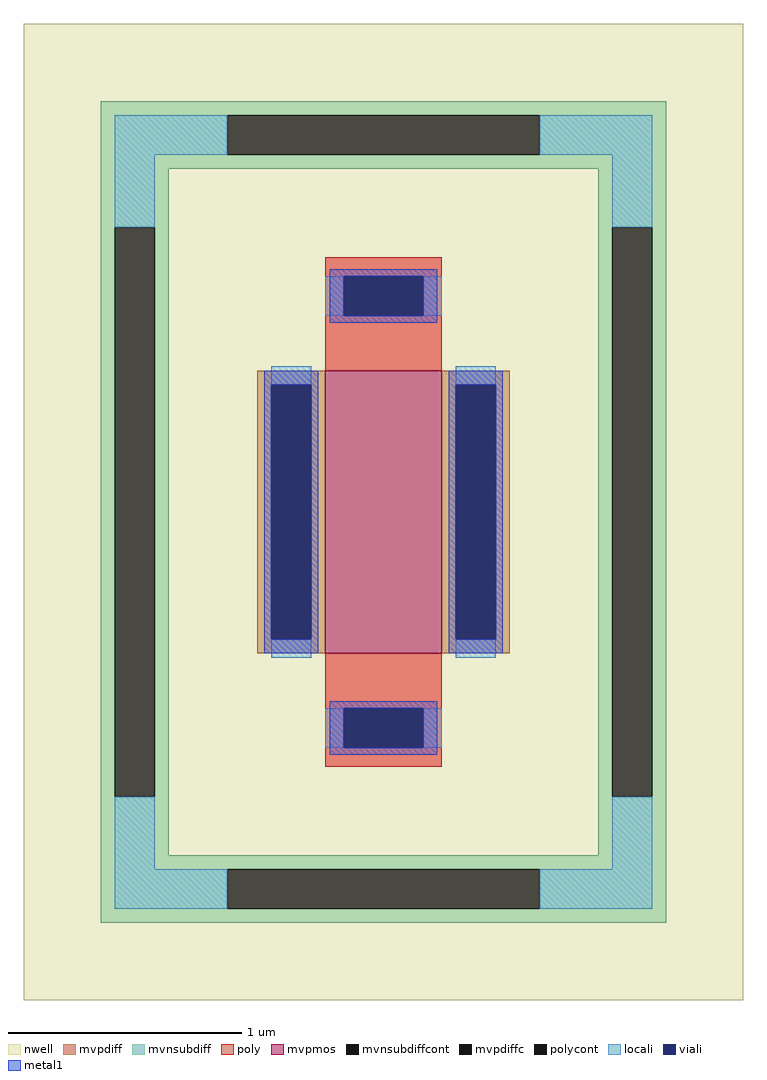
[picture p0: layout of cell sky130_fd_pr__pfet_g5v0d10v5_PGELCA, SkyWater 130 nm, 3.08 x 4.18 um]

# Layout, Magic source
magic
tech sky130A
magscale 1 2
<< nwell >>
rect -308 -418 308 418
<< mvpmos >>
rect -50 -121 50 121
<< mvpdiff >>
rect -108 109 -50 121
rect -108 -109 -96 109
rect -62 -109 -50 109
rect -108 -121 -50 -109
rect 50 109 108 121
rect 50 -109 62 109
rect 96 -109 108 109
rect 50 -121 108 -109
<< mvpdiffc >>
rect -96 -109 -62 109
rect 62 -109 96 109
<< mvnsubdiff >>
rect -242 340 242 352
rect -242 306 -134 340
rect 134 306 242 340
rect -242 294 242 306
rect -242 244 -184 294
rect -242 -244 -230 244
rect -196 -244 -184 244
rect 184 244 242 294
rect -242 -294 -184 -244
rect 184 -244 196 244
rect 230 -244 242 244
rect 184 -294 242 -244
rect -242 -306 242 -294
rect -242 -340 -134 -306
rect 134 -340 242 -306
rect -242 -352 242 -340
<< mvnsubdiffcont >>
rect -134 306 134 340
rect -230 -244 -196 244
rect 196 -244 230 244
rect -134 -340 134 -306
<< poly >>
rect -50 202 50 218
rect -50 168 -34 202
rect 34 168 50 202
rect -50 121 50 168
rect -50 -168 50 -121
rect -50 -202 -34 -168
rect 34 -202 50 -168
rect -50 -218 50 -202
<< polycont >>
rect -34 168 34 202
rect -34 -202 34 -168
<< locali >>
rect -230 306 -134 340
rect 134 306 230 340
rect -230 244 -196 306
rect 196 244 230 306
rect -50 168 -34 202
rect 34 168 50 202
rect -96 109 -62 125
rect -96 -125 -62 -109
rect 62 109 96 125
rect 62 -125 96 -109
rect -50 -202 -34 -168
rect 34 -202 50 -168
rect -230 -306 -196 -244
rect 196 -306 230 -244
rect -230 -340 -134 -306
rect 134 -340 230 -306
<< viali >>
rect -34 168 34 202
rect -96 -109 -62 109
rect 62 -109 96 109
rect -34 -202 34 -168
<< metal1 >>
rect -46 202 46 208
rect -46 168 -34 202
rect 34 168 46 202
rect -46 162 46 168
rect -102 109 -56 121
rect -102 -109 -96 109
rect -62 -109 -56 109
rect -102 -121 -56 -109
rect 56 109 102 121
rect 56 -109 62 109
rect 96 -109 102 109
rect 56 -121 102 -109
rect -46 -168 46 -162
rect -46 -202 -34 -168
rect 34 -202 46 -168
rect -46 -208 46 -202
<< properties >>
string FIXED_BBOX -213 -323 213 323
string gencell sky130_fd_pr__pfet_g5v0d10v5
string library sky130
string parameters w 1.21 l 0.5 m 1 nf 1 diffcov 100 polycov 100 guard 1 glc 1 grc 1 gtc 1 gbc 1 tbcov 100 rlcov 100 topc 1 botc 1 poverlap 0 doverlap 1 lmin 0.50 wmin 0.42 compatible {sky130_fd_pr__pfet_01v8  sky130_fd_pr__pfet_01v8_lvt sky130_fd_pr__pfet_01v8_hvt  sky130_fd_pr__pfet_g5v0d10v5} full_metal 1 viasrc 100 viadrn 100 viagate 100 viagb 0 viagr 0 viagl 0 viagt 0
<< end >>
